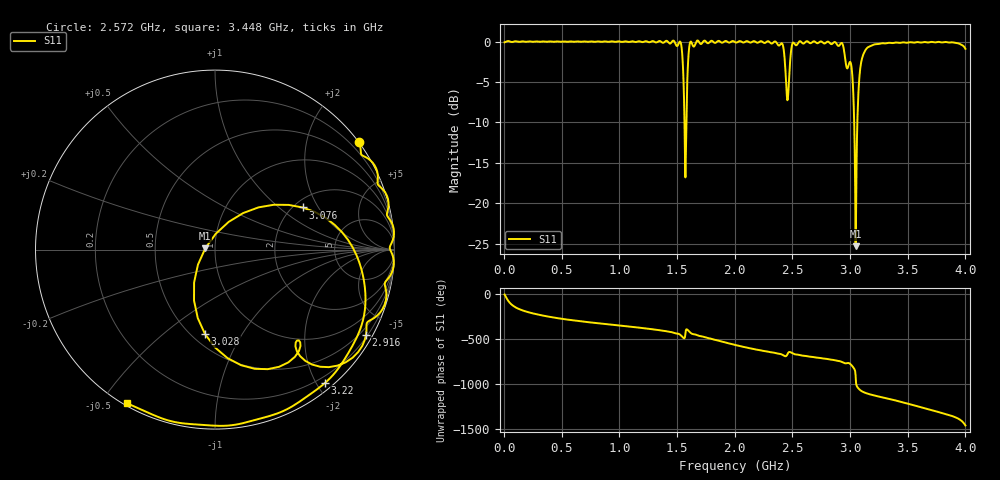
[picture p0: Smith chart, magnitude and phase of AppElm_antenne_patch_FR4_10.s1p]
! TOUCHSTONE file generated by CST MICROWAVE STUDIO
! Date and time: Tue Jun  7 22:11:21 2022
! Project name: AppElm_antenne_patch_FR4.cst
! Parameters = {L=45; W=58.5; e=0.035; h=1.6; lambda=0.190476; ls=120; w0=1.6; w1=0.63965; ws=120; y0=20; y1=23.81}
! Header version: 2018
! Port assignment regex: !\s*Touchstone port\s*([0-9]+)\s*=\s*(CST MWS port|CST DS port)\s*([0-9]+|Zmin|Zmax)\s*\(\"(.*)\"\)(\s*mode\s*([0-9]+))?.*
! Touchstone port assignment:
! Touchstone port 1 = CST MWS port 1 ("")
# GHz S MA R 50
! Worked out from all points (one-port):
!   1000 points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, 4 MHz to 4 GHz, reference 50 ohm
!   lowest |S11| = -25.3 dB at 3.048 GHz (marker M1), VSWR 1.11, Z = 44.9 + j0.709 ohm
!   |S11| at or under -10 dB: 1.564 GHz to 1.58 GHz (15.8 MHz wide, 1.01 % of centre); 3.036 GHz to 3.063 GHz (27.51 MHz wide, 0.902 % of centre)
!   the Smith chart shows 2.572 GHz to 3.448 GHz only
!   S11 on the Smith chart (normalised r, x): 2.572 GHz: -0.01, +2.99; 2.916 GHz: 0.26, -3.79; 3.028 GHz: 0.58, -0.70; 3.076 GHz: 2.23, +1.48; 3.22 GHz: 0.10, -2.12; 3.448 GHz: 0.01, -0.58
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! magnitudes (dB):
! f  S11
! 4 MHz  -0.1
! 504 MHz  0.0
! 1.004 GHz  0.0
! 1.504 GHz  -0.5
! 1.536 GHz  -0.4
! 1.56 GHz  -7.1
! 1.572 GHz  -16.8
! 1.584 GHz  -7.0
! 1.604 GHz  -0.8
! 1.62 GHz  0.0
! 2.004 GHz  -0.1
! 2.404 GHz  -0.2
! 2.456 GHz  -7.3
! 2.504 GHz  -0.1
! 2.572 GHz  0.0
! 2.916 GHz  -0.3
! 3.004 GHz  -2.6
! 3.02 GHz  -4.3
! 3.028 GHz  -6.5
! 3.048 GHz  -25.3
! 3.064 GHz  -9.4
! 3.076 GHz  -5.3
! 3.092 GHz  -2.9
! 3.112 GHz  -1.7
! 3.22 GHz  -0.3
! 3.448 GHz  -0.1
! 3.504 GHz  -0.1
! 4 GHz  -0.9
